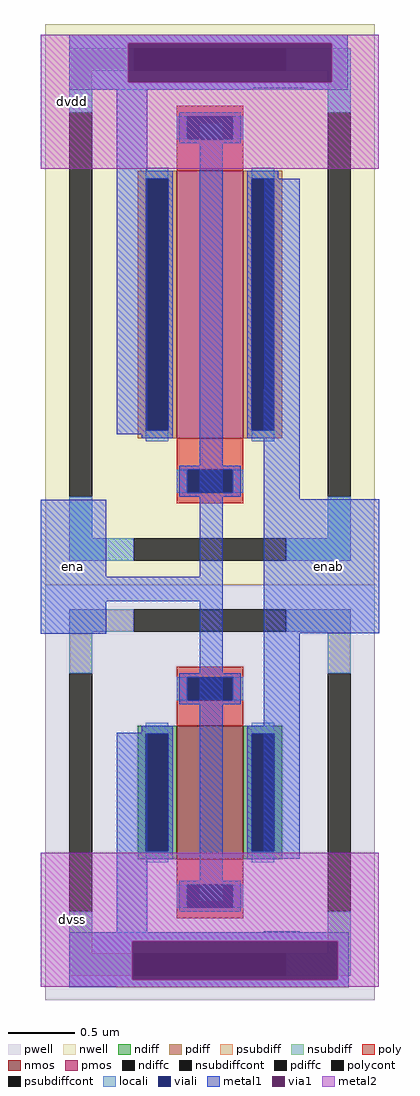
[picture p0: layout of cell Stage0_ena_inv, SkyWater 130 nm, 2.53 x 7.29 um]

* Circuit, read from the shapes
.subckt Stage0_ena_inv dvdd ena enab dvss
XM1 enab ena dvss dvss sky130_fd_pr__nfet_01v8 w=1 l=0.5
XM2 enab ena dvdd dvdd sky130_fd_pr__pfet_01v8 w=2 l=0.5
.ends

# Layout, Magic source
magic
tech sky130A
magscale 1 2
<< locali >>
rect 422 123 838 136
rect 422 65 510 123
rect 814 65 838 123
rect 422 54 838 65
rect 422 -1218 839 -1205
rect 422 -1276 516 -1218
rect 823 -1276 839 -1218
rect 422 -1287 839 -1276
<< viali >>
rect 510 65 814 123
rect 516 -1276 823 -1218
<< metal1 >>
rect 422 123 838 136
rect 422 65 510 123
rect 814 65 838 123
rect 422 56 838 65
rect 422 54 696 56
rect 774 54 838 56
rect 493 -461 538 54
rect 379 -674 477 -559
rect 617 -674 651 4
rect 713 -393 766 -79
rect 379 -710 651 -674
rect 379 -759 477 -710
rect 493 -1205 538 -907
rect 617 -1158 651 -710
rect 712 -558 766 -393
rect 712 -758 885 -558
rect 712 -1095 766 -758
rect 712 -1205 766 -1203
rect 422 -1218 839 -1205
rect 422 -1276 516 -1218
rect 823 -1276 839 -1218
rect 422 -1287 839 -1276
<< via1 >>
rect 510 65 814 123
rect 516 -1276 823 -1218
<< metal2 >>
rect 379 123 884 136
rect 379 65 510 123
rect 814 65 884 123
rect 379 -64 884 65
rect 379 -1218 884 -1086
rect 379 -1276 516 -1218
rect 823 -1276 884 -1218
rect 379 -1286 884 -1276
rect 492 -1287 839 -1286
use sky130_fd_pr__nfet_01v8_PVEW3M  XM24 paramcells
transform 1 0 632 0 1 -996
box -246 -310 246 310
use sky130_fd_pr__pfet_01v8_XPB8Y6  XM25 paramcells
transform 1 0 632 0 1 -267
box -246 -419 246 419
<< labels >>
flabel metal1 733 -758 885 -558 0 FreeSans 256 0 0 0 enab
port 2 nsew
flabel metal2 379 -1286 474 -1086 0 FreeSans 256 0 0 0 dvss
port 3 nsew
flabel metal1 379 -759 474 -559 0 FreeSans 256 0 0 0 ena
port 1 nsew
flabel metal2 379 -64 474 136 0 FreeSans 256 0 0 0 dvdd
port 0 nsew
<< end >>

# cell sky130_fd_pr__nfet_01v8_PVEW3M: kit device sky130_fd_pr__nfet_01v8, w 1.0 l 0.5 m 1 nf 1 diffcov 100 polycov 100 guard 1 glc 1 grc 1 gtc 1 gbc 1 tbcov 100 rlcov 100 topc 1 botc 1 poverlap 0 doverlap 1 lmin 0.15 wmin 0.42 compatible {sky130_fd_pr__nfet_01v8 sky130_fd_pr__nfet_01v8_lvt sky130_fd_bs_flash__special_sonosfet_star sky130_fd_pr__nfet_g5v0d10v5 sky130_fd_pr__nfet_05v0_nvt sky130_fd_pr__nfet_03v3_nvt} full_metal 1 viasrc 100 viadrn 100 viagate 100 viagb 0 viagr 0 viagl 0 viagt 0

# cell sky130_fd_pr__pfet_01v8_XPB8Y6: kit device sky130_fd_pr__pfet_01v8, w 2.0 l 0.5 m 1 nf 1 diffcov 100 polycov 100 guard 1 glc 1 grc 1 gtc 1 gbc 1 tbcov 100 rlcov 100 topc 1 botc 1 poverlap 0 doverlap 1 lmin 0.15 wmin 0.42 compatible {sky130_fd_pr__pfet_01v8 sky130_fd_pr__pfet_01v8_lvt sky130_fd_pr__pfet_01v8_hvt sky130_fd_pr__pfet_g5v0d10v5} full_metal 1 viasrc 100 viadrn 100 viagate 100 viagb 0 viagr 0 viagl 0 viagt 0
